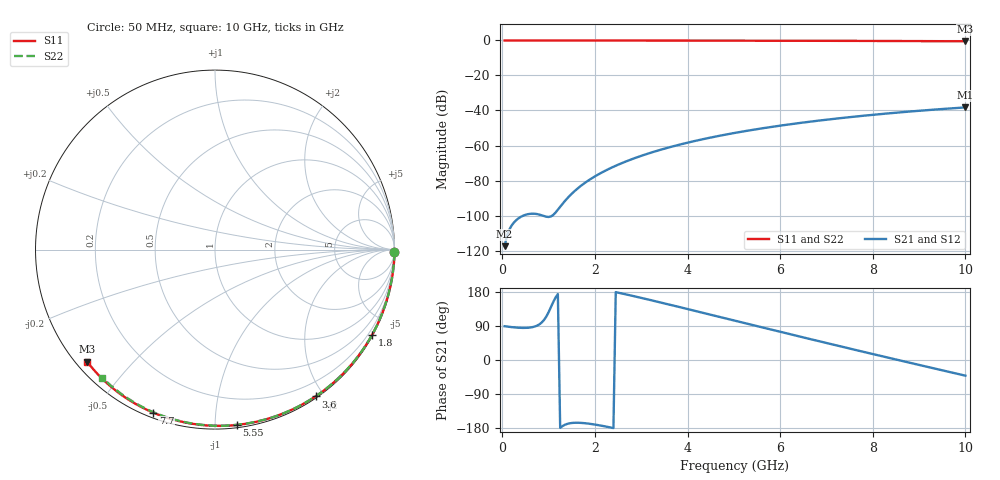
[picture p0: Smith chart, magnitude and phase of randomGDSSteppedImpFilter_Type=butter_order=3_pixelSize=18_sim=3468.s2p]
! freq	dB(S11)	phase(S11)	dB(S12)	phase(S12)
!  dB(S21)	phase(S21)	dB(S22)	phase(S22)
!S-par simulation data
#  GHz  S  DB  R 50
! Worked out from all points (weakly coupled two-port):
!   200 points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, 50 MHz to 10 GHz, reference 50 ohm
!   highest |S21| = -38.23 dB at 10 GHz (marker M1); lowest = -117.5 dB at 50 MHz (marker M2)
!   lowest |S11| = -0.5 dB at 10 GHz (marker M3), VSWR 37.12, Z = 1.54 - j18.8 ohm
!   |S11| at or under -10 dB: nowhere
!   |S22| runs from -0.4 to 0.0 dB; largest |S21 - S12| = 0
!   S11 on the Smith chart (normalised r, x): 50 MHz: open; 1.8 GHz: 0.03, -3.94; 3.6 GHz: 0.02, -1.90; 5.55 GHz: 0.02, -1.13; 7.7 GHz: 0.02, -0.69; 10 GHz: 0.03, -0.38
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0.05  -0.00 -0.8  -117.48 89.1  -117.48 89.1  -0.00 -0.8
0.45  -0.01 -7.2  -100.07 84.7  -100.07 84.7  -0.01 -6.8
0.9  -0.02 -14.4  -100.27 105.5  -100.27 105.5  -0.02 -13.6
1.75  -0.04 -27.7  -81.97 -166.4  -81.97 -166.4  -0.03 -26.2
1.8  -0.04 -28.5  -81.02 -167.0  -81.02 -167.0  -0.03 -26.9
1.85  -0.04 -29.2  -80.12 -167.7  -80.12 -167.7  -0.04 -27.6
2.15  -0.04 -33.9  -75.40 -173.6  -75.40 -173.6  -0.04 -32.0
2.35  -0.05 -36.9  -72.75 -178.4  -72.75 -178.4  -0.04 -34.9
2.55  -0.05 -40.0  -70.40 176.4  -70.40 176.4  -0.05 -37.8
2.95  -0.06 -46.0  -66.35 165.4  -66.35 165.4  -0.06 -43.5
3.4  -0.07 -52.7  -62.56 152.3  -62.56 152.3  -0.07 -49.8
3.6  -0.07 -55.6  -61.07 146.4  -61.07 146.4  -0.07 -52.6
3.9  -0.08 -59.9  -59.01 137.5  -59.01 137.5  -0.08 -56.8
4.3  -0.09 -65.7  -56.57 125.5  -56.57 125.5  -0.09 -62.2
5.05  -0.12 -76.1  -52.66 102.9  -52.66 102.9  -0.11 -72.1
5.55  -0.14 -82.9  -50.44 87.9  -50.44 87.9  -0.13 -78.6
6.1  -0.16 -90.2  -48.28 71.5  -48.28 71.5  -0.15 -85.6
6.7  -0.19 -98.0  -46.20 53.7  -46.20 53.7  -0.18 -93.0
7.7  -0.25 -110.7  -43.25 24.4  -43.25 24.4  -0.24 -105.0
8.35  -0.30 -118.7  -41.61 5.6  -41.61 5.6  -0.29 -112.5
9.2  -0.38 -129.1  -39.74 -18.7  -39.74 -18.7  -0.36 -122.3
10  -0.47 -138.7  -38.23 -41.3  -38.23 -41.3  -0.44 -131.3
